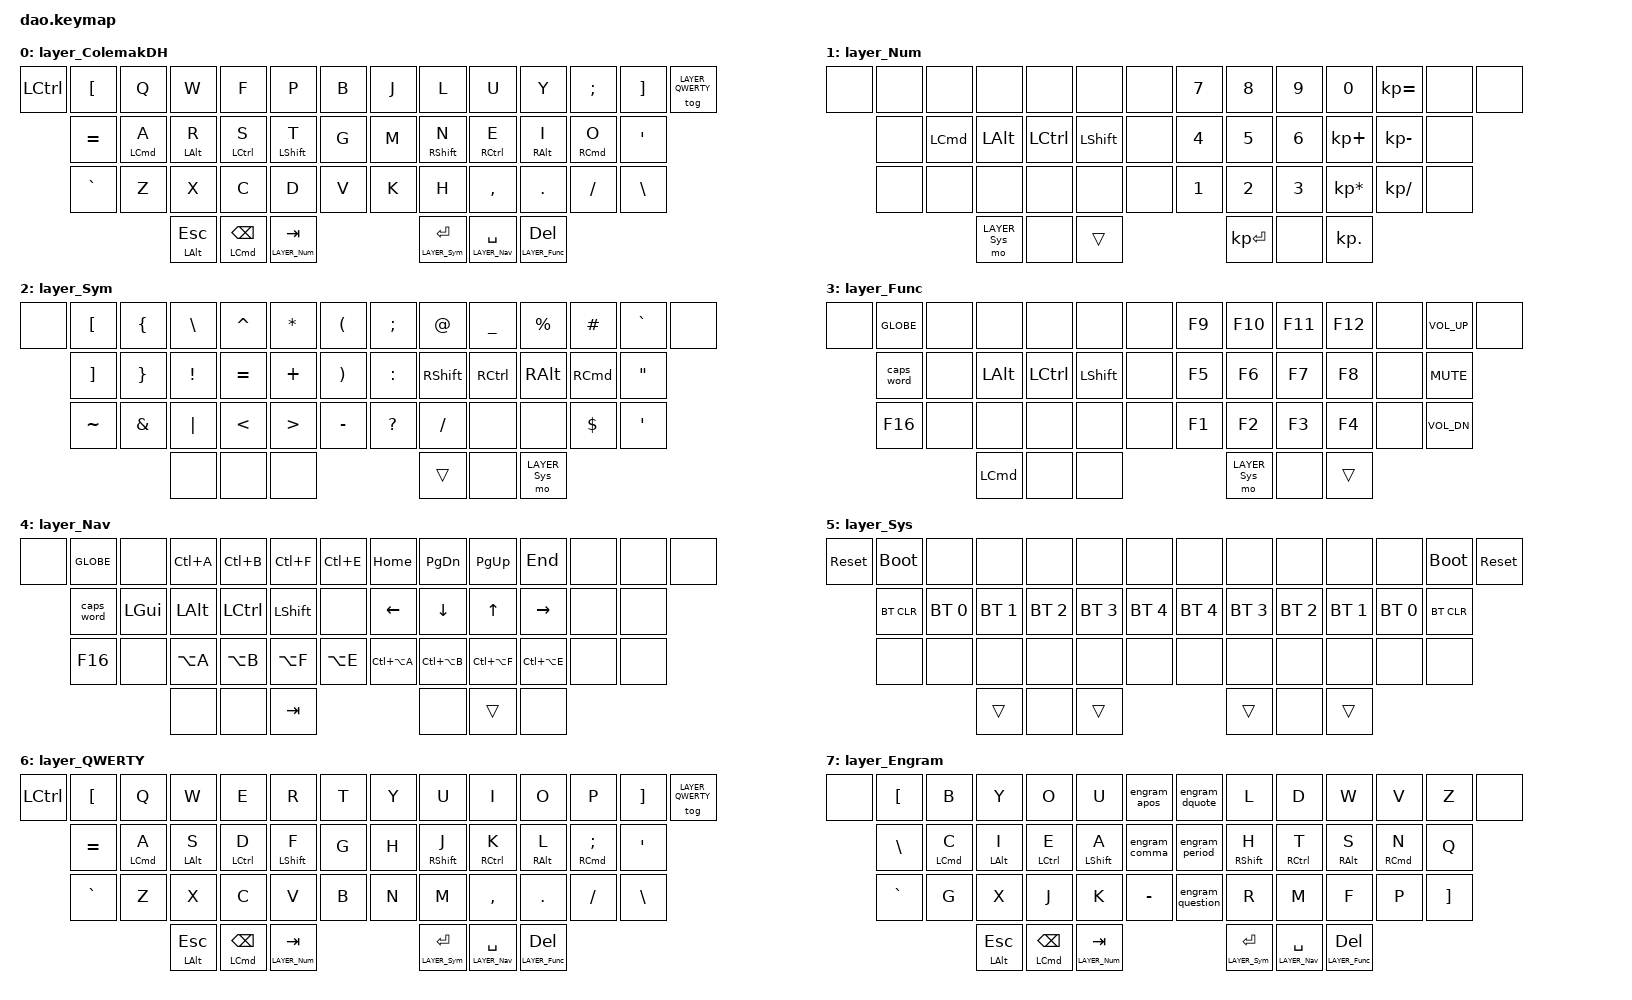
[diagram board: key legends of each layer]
/*
 * Copyright (c) 2021 Rafael Yumagulov
 *
 * SPDX-License-Identifier: MIT
 */

#include <behaviors.dtsi>
#include <dt-bindings/zmk/bt.h>
#include <dt-bindings/zmk/keys.h>

#define LAYER_ColemakDH 0
#define LAYER_Num 1
#define LAYER_Sym 2
#define LAYER_Func 3
#define LAYER_Nav 4
#define LAYER_Sys 5
#define LAYER_QWERTY 6
#define LAYER_Engram 7

#define ALPHAS LAYER_ColemakDH LAYER_QWERTY LAYER_Engram

&lt {
    tapping-term-ms = <120>;
    quick_tap_ms = <200>;
};

&mt {
    tapping-term-ms = <120>;
    quick_tap_ms = <75>;
};

&caps_word {
    continue-list = <UNDERSCORE MINUS BSPC DELETE N1 N2 N3 N4 N5 N6 N7 N8 N9 N0>;
};

/ {

    combos {
        compatible = "zmk,combos";
        combo_caps_word {
            timeout-ms = <100>;
            key-positions = <18 21>;
            bindings = <&caps_word>;
            layers = <ALPHAS>;
        };
    };
};

/ {
    chosen {
        zmk,matrix_transform = &extra_keys_transform;
    };
};

/ {
    behaviors {
        hi: homerow_mods_index_finger {
            compatible = "zmk,behavior-hold-tap";
            label = "HOMEROW_MODS_INDEX_FINGER";
            #binding-cells = <2>;
            tapping-term-ms = <140>;
            quick-tap-ms = <0>;
            flavor = "tap-preferred";
            bindings = <&kp>, <&kp>;
        };

        hm: homerow_mods_middle_finger {
            compatible = "zmk,behavior-hold-tap";
            label = "HOMEROW_MODS_MIDDLE_FINGER";
            #binding-cells = <2>;
            tapping-term-ms = <160>;
            quick-tap-ms = <0>;
            require-prior-idle-ms = <100>;
            flavor = "tap-preferred";
            bindings = <&kp>, <&kp>;
        };

        hr: homerow_mods_ring_finger {
            compatible = "zmk,behavior-hold-tap";
            label = "HOMEROW_MODS_RING_FINGER";
            #binding-cells = <2>;
            tapping-term-ms = <200>;
            quick-tap-ms = <0>;
            require-prior-idle-ms = <100>;
            flavor = "tap-preferred";
            bindings = <&kp>, <&kp>;
        };

        hp: homerow_mods_pinky_finger {
            compatible = "zmk,behavior-hold-tap";
            label = "HOMEROW_MODS_PINKY_FINGER";
            #binding-cells = <2>;
            tapping-term-ms = <250>;
            quick-tap-ms = <0>;
            require-prior-idle-ms = <100>;
            flavor = "tap-preferred";
            bindings = <&kp>, <&kp>;
        };

        //
        // Custom shifted pairs for the Engram layout
        // https://engram.dev/
        //
       engram_apos: apostrophe_and_left_parenthesis {
            compatible = "zmk,behavior-mod-morph";
            label = "APOSTROPHE_AND_LEFT_PARENTHESIS";
            #binding-cells = <0>;
            bindings = <&kp APOSTROPHE>, <&kp LEFT_PARENTHESIS>;
            mods = <(MOD_LSFT|MOD_RSFT)>;
        };
        engram_dquote: double_quotes_and_right_parenthesis {
            compatible = "zmk,behavior-mod-morph";
            label = "DOUBLE_QUOTES_AND_RIGHT_PARENTHESIS";
            #binding-cells = <0>;
            bindings = <&kp DOUBLE_QUOTES>, <&kp RIGHT_PARENTHESIS>;
            mods = <(MOD_LSFT|MOD_RSFT)>;
        };
        engram_comma: comma_and_semicolon {
            compatible = "zmk,behavior-mod-morph";
            label = "COMMA_AND_SEMICOLON";
            #binding-cells = <0>;
            bindings = <&kp COMMA>, <&kp SEMICOLON>;
            mods = <(MOD_LSFT|MOD_RSFT)>;
        };
        engram_period: period_and_colon {
            compatible = "zmk,behavior-mod-morph";
            label = "PERIOD_AND_COLON";
            #binding-cells = <0>;
            bindings = <&kp PERIOD>, <&kp COLON>;
            mods = <(MOD_LSFT|MOD_RSFT)>;
        };
        engram_question: question_and_exclamation {
            compatible = "zmk,behavior-mod-morph";
            label = "QUESTION_AND_EXCLAMATION";
            #binding-cells = <0>;
            bindings = <&kp QUESTION>, <&kp EXCLAMATION>;
            mods = <(MOD_LSFT|MOD_RSFT)>;
        };
    };
};

/ {
    keymap {
        compatible = "zmk,keymap";

        layer_ColemakDH {
            bindings = <
&kp LCTRL  &kp LBKT   &kp Q       &kp W       &kp F         &kp P          &kp B          &kp J        &kp L            &kp U        &kp Y       &kp SEMI     &kp RBKT   &tog LAYER_QWERTY
           &kp EQUAL  &hp LCMD A  &hr LALT R  &hm LCTRL S   &hi LSHFT T    &kp G          &kp M        &hi RSHFT N      &hm RCTRL E  &hr RALT I  &hp RCMD O   &kp SQT
           &kp GRAVE  &kp Z       &kp X       &kp C         &kp D          &kp V          &kp K        &kp H            &kp COMMA    &kp DOT     &kp FSLH  &kp BSLH
                                     &mt LALT ESC  &mt LCMD BACKSPACE  &lt LAYER_Num TAB    &lt LAYER_Sym ENTER  &lt LAYER_Nav SPACE  &lt LAYER_Func DEL
            >;
        };

        layer_Num {
            bindings = <
&none  &none   &none     &none     &none      &none      &none    &kp N7  &kp N8  &kp N9  &kp N0           &kp KP_EQUAL   &none    &none
       &none   &kp LCMD  &kp LALT  &kp LCTRL  &kp LSHFT  &none    &kp N4  &kp N5  &kp N6  &kp KP_PLUS      &kp KP_MINUS   &none
       &none   &none     &none     &none      &none      &none    &kp N1  &kp N2  &kp N3  &kp KP_MULTIPLY  &kp KP_DIVIDE  &none
                                   &mo LAYER_Sys  &none  &trans   &kp KP_ENTER     &none   &kp KP_DOT
            >;
        };

        layer_Sym {
            bindings = <
&none  &kp LBKT   &kp LBRC  &kp BSLH  &kp CARET  &kp ASTRK  &kp LPAR    &kp SEMI   &kp AT     &kp UNDER  &kp PRCNT  &kp HASH  &kp GRAVE    &none
       &kp RBKT   &kp RBRC  &kp EXCL  &kp EQUAL  &kp PLUS   &kp RPAR    &kp COLON  &kp RSHFT  &kp RCTRL  &kp RALT   &kp RCMD  &kp DQT
       &kp TILDE  &kp AMPS  &kp PIPE  &kp LT     &kp GT     &kp MINUS   &kp QMARK  &kp FSLH   &none      &none      &kp DLLR  &kp SQT
                                      &none       &none     &none                 &trans  &none   &mo LAYER_Sys
            >;
        };

        layer_Func {
            bindings = <
&none  &kp GLOBE   &none  &none     &none      &none      &none    &kp F9  &kp F10  &kp F11  &kp F12  &none  &kp C_VOL_UP  &none
       &caps_word  &none  &kp LALT  &kp LCTRL  &kp LSHFT  &none    &kp F5  &kp F6   &kp F7   &kp F8   &none  &kp C_MUTE
       &kp F16     &none  &none     &none      &none      &none    &kp F1  &kp F2   &kp F3   &kp F4   &none  &kp C_VOL_DN
                               &kp LCMD   &none      &none    &mo LAYER_Sys   &none    &trans
            >;
        };

        layer_Nav {
            bindings = <
&none  &kp GLOBE  &none  &kp LC(A)    &kp LC(B)      &kp LC(F)          &kp LC(E)          &kp HOME       &kp PG_DN      &kp PG_UP      &kp END        &none  &none  &none
       &caps_word   &kp LGUI  &kp LALT  &kp LCTRL  &kp LSHFT      &none          &kp LEFT       &kp DOWN       &kp UP         &kp RIGHT      &none  &none
       &kp F16    &none  &kp LA(A)     &kp LA(B)     &kp LA(F)  &kp LA(E)    &kp LC(LA(A))  &kp LC(LA(B))  &kp LC(LA(F))  &kp LC(LA(E))  &none  &none
                                   &none   &none         &kp TAB          &none          &trans         &none
            >;
        };

        layer_Sys {
            bindings = <
&sys_reset  &bootloader  &none         &none         &none         &none         &none           &none         &none         &none         &none         &none         &bootloader  &sys_reset
            &bt BT_CLR   &bt BT_SEL 0  &bt BT_SEL 1  &bt BT_SEL 2  &bt BT_SEL 3  &bt BT_SEL 4    &bt BT_SEL 4  &bt BT_SEL 3  &bt BT_SEL 2  &bt BT_SEL 1  &bt BT_SEL 0  &bt BT_CLR
            &none        &none         &none         &none         &none         &none           &none         &none         &none         &none         &none         &none
                                                     &trans        &none         &trans          &trans        &none         &trans
            >;
        };

        layer_QWERTY {
            bindings = <
&kp LCTRL  &kp LBKT   &kp Q       &kp W       &kp E         &kp R          &kp T          &kp Y        &kp U            &kp I        &kp O       &kp P          &kp RBKT   &tog LAYER_QWERTY
           &kp EQUAL  &hp LCMD A  &hr LALT S  &hm LCTRL D   &hi LSHFT F    &kp G          &kp H        &hi RSHFT J      &hm RCTRL K  &hr RALT L  &hp RCMD SEMI  &kp SQT
           &kp GRAVE  &kp Z       &kp X       &kp C         &kp V          &kp B          &kp N        &kp M            &kp COMMA    &kp DOT     &kp FSLH       &kp BSLH
                                     &mt LALT ESC  &mt LCMD BACKSPACE  &lt LAYER_Num TAB    &lt LAYER_Sym ENTER  &lt LAYER_Nav SPACE  &lt LAYER_Func DEL
            >;
        };

        layer_Engram {
            bindings = <
&none      &kp LBKT   &kp B       &kp Y       &kp O         &kp U          &engram_apos   &engram_dquote    &kp L        &kp D        &kp W       &kp V       &kp Z   &none
           &kp BSLH   &hp LCMD C  &hr LALT I  &hm LCTRL E   &hi LSHFT A    &engram_comma  &engram_period    &hi RSHFT H  &hm RCTRL T  &hr RALT S  &hp RCMD N  &kp Q
           &kp GRAVE  &kp G       &kp X       &kp J         &kp K          &kp MINUS      &engram_question  &kp R        &kp M        &kp F       &kp P       &kp RBKT
                                     &mt LALT ESC  &mt LCMD BACKSPACE  &lt LAYER_Num TAB    &lt LAYER_Sym ENTER  &lt LAYER_Nav SPACE  &lt LAYER_Func DEL
            >;
        };

    };
};
